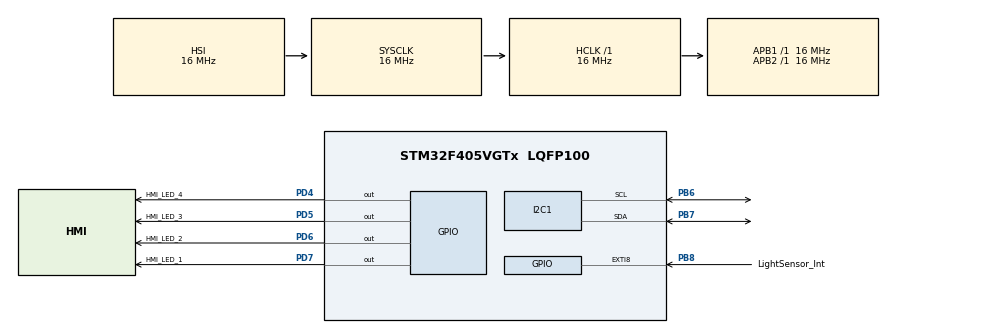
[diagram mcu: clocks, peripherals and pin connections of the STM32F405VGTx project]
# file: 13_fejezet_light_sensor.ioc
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Mcu.Family=STM32F4
PH0-OSC_IN.Signal=RCC_OSC_IN
RCC.CortexFreq_Value=16000000
PD7.Signal=GPIO_Output
PD5.Signal=GPIO_Output
PD6.GPIO_Label=HMI_LED_2
ProjectManager.StackSize=0x400
PA13.Signal=SYS_JTMS-SWDIO
PB8.GPIO_Label=LightSensor_Int
PB8.GPIO_ModeDefaultEXTI=GPIO_MODE_IT_FALLING
ProjectManager.TargetToolchain=STM32CubeIDE
PD4.Signal=GPIO_Output
PB6.Signal=I2C1_SCL
PB6.Mode=I2C
RCC.LSE_VALUE=32768
RCC.AHBFreq_Value=16000000
PH0-OSC_IN.Mode=HSE-External-Oscillator
RCC.HSE_VALUE=8000000
PB3.Mode=JTAG_4_pins
board=custom
RCC.VCOOutputFreq_Value=192000000
PA15.Mode=JTAG_4_pins
RCC.APB2Freq_Value=16000000
PD4.GPIO_Label=HMI_LED_4
PA14.Mode=JTAG_4_pins
PH1-OSC_OUT.Signal=RCC_OSC_OUT
PB7.Signal=I2C1_SDA
PA13.Mode=JTAG_4_pins
Mcu.Name=STM32F405VGTx
PD7.GPIO_Label=HMI_LED_1
PH1-OSC_OUT.Mode=HSE-External-Oscillator
PB3.Signal=SYS_JTDO-SWO
RCC.SYSCLKFreq_VALUE=16000000
Mcu.Package=LQFP100
PD5.GPIO_Label=HMI_LED_3
PB7.Mode=I2C
NVIC.EXTI9_5_IRQn=true\:0\:0\:false\:false\:true\:true\:true
PA14.Signal=SYS_JTCK-SWCLK
PA15.Signal=SYS_JTDI
ProjectManager.HeapSize=0x200
RCC.HSI_VALUE=16000000
NVIC.PriorityGroup=NVIC_PRIORITYGROUP_4
PB8.Signal=GPXTI8
PD6.Signal=GPIO_Output
RCC.APB1Freq_Value=16000000

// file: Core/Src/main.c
/* USER CODE BEGIN Header */
/**
  ******************************************************************************
  * @file           : main.c
  * @brief          : Main program body
  ******************************************************************************
  * @attention
  *
  * <h2><center>&copy; Copyright (c) 2020 STMicroelectronics.
  * All rights reserved.</center></h2>
  *
  * This software component is licensed by ST under BSD 3-Clause license,
  * the "License"; You may not use this file except in compliance with the
  * License. You may obtain a copy of the License at:
  *                        opensource.org/licenses/BSD-3-Clause
  *
  ******************************************************************************
  */
/* USER CODE END Header */
#include "main.h"
#include "i2c.h"
#include "gpio.h"

/* USER CODE BEGIN Includes */

#include "OLED.h"
#include "light_sensor.h"
#include <stdio.h>

/* USER CODE END Includes */

void SystemClock_Config(void);

/* USER CODE BEGIN 0 */
// Megszakítások számlálására létrehozott változóVariable for counting the interrupts
uint16_t interrupt_counter = 0;

// Külső interrupt lekezelő függvény
void HAL_GPIO_EXTI_Callback(uint16_t GPIO_Pin)
{
	interrupt_counter++;			// számláló növelés
	LightSensor_ClearInterrupt();	// új megszakítások törlése
}

/* USER CODE END 0 */

int main(void)
{

  /* MCU Configuration--------------------------------------------------------*/

  /* Reset of all peripherals, Initializes the Flash interface and the Systick. */
  HAL_Init();

  /* Configure the system clock */
  SystemClock_Config();

  /* Initialize all configured peripherals */
  MX_GPIO_Init();
  MX_I2C1_Init();
  /* USER CODE BEGIN 2 */

  // OLED kijelző inicializálása a hőmérséklet kijelzéshez
  OLED_Init();

  // Mért fényintenzitások eltárolására szolgáló változók
  float lightLevel;
  uint16_t channel_0;
  uint16_t channel_1;

  // Karakter tömb a mért fényintenzitás kijelzésére
  char lightLevel_char[18];
  uint16_t lightlevel_integer;
  uint16_t lightlevel_fractional;
  // Karakter tömb a megszakítás számláló kijelzésére
  char interrupt_char[18];
  char channels_char[18];
  // Változó a kommunikáció állapotónak ellenőrzésére
  HAL_StatusTypeDef sensor_i2c = HAL_OK;

  // I2C slave cím beállítás a szenzornak
  //LightSensor_SetAddress(LightSensor_ADDR_VDD);
  LightSensor_SetAddress(LightSensor_ADDR_FLOAT);
  //LightSensor_SetAddress(LightSensor_ADDR_GND);

  // Szenzor inicializálása
  sensor_i2c |= LightSensor_SetPowerState(LightSensor_POWER_ON);
  sensor_i2c |= LightSensor_SetGain(LightSensor_GAIN_16X);
  sensor_i2c |= LightSensor_SetIntegrationTime(LightSensor_INTEG_101m);

  // Megszakítások engedélyezése
  sensor_i2c |= LightSensor_SetInterruptState(LightSensor_INT_ON);
  /*
   * Megszakítás beállítása úgy, hogy akkor történjen
   * ,ha a fényintenzitás egymás után három integrálási
   * cikluson keresztül kívül esik a beállított küszöbértékeken.
   */
  sensor_i2c |= LightSensor_SetInterruptPersist(LightSensor_PERSIST_3CYCLE);
  // Küszöbértékek beállítása
  uint16_t lower_itr_level = 500;
  uint16_t upper_itr_level = 5000;
  sensor_i2c |= LightSensor_SetThreshold(lower_itr_level, upper_itr_level);

  /* USER CODE END 2 */

  /* Infinite loop */
  /* USER CODE BEGIN WHILE */
  while (1)
  {
	  {
	  			// Beolvasás
	  			LightSensor_GetLightLevel(&lightLevel);
	  			LightSensor_GetCH0Value(&channel_0);
	  			LightSensor_GetCH1Value(&channel_1);

	  			// Sztring konverzió
	  			lightlevel_integer = (uint16_t)lightLevel;
	  			lightlevel_fractional = (uint16_t)(lightLevel * 100) - 100 * (uint16_t)lightLevel;
	  			sprintf(lightLevel_char, "%d.%d lux", lightlevel_integer, lightlevel_fractional);
	  			sprintf(channels_char, "%d, %d", channel_0, channel_1);

	  			OLED_Fill(Black);

	  			OLED_SetCursor(2, 0);
	  			OLED_WriteString("Illuminance:", Font_7x10, White);
	  			OLED_SetCursor(2, 10);
	  			OLED_WriteString(lightLevel_char, Font_7x10, White);

	  		}

	// Hiba esetén az összes LED bekapcsolása
	if (sensor_i2c == HAL_ERROR)
	{
		HAL_GPIO_WritePin(HMI_LED_1_GPIO_Port, HMI_LED_1_Pin, GPIO_PIN_SET);
		HAL_GPIO_WritePin(HMI_LED_2_GPIO_Port, HMI_LED_2_Pin, GPIO_PIN_SET);
		HAL_GPIO_WritePin(HMI_LED_3_GPIO_Port, HMI_LED_3_Pin, GPIO_PIN_SET);
		HAL_GPIO_WritePin(HMI_LED_4_GPIO_Port, HMI_LED_4_Pin, GPIO_PIN_SET);
		// Állapotváltozó visszaállítása a következő ciklushoz
		sensor_i2c = HAL_OK;
		LightSensor_SetAddress(LightSensor_ADDR_GND);
		LightSensor_ClearInterrupt();
		LightSensor_SetAddress(LightSensor_ADDR_FLOAT);
	}
	else
	{
		HAL_GPIO_WritePin(HMI_LED_1_GPIO_Port, HMI_LED_1_Pin, GPIO_PIN_RESET);
		HAL_GPIO_WritePin(HMI_LED_2_GPIO_Port, HMI_LED_2_Pin, GPIO_PIN_RESET);
		HAL_GPIO_WritePin(HMI_LED_3_GPIO_Port, HMI_LED_3_Pin, GPIO_PIN_RESET);
		HAL_GPIO_WritePin(HMI_LED_4_GPIO_Port, HMI_LED_4_Pin, GPIO_PIN_RESET);
	}
	OLED_UpdateScreen();
	HAL_Delay(200);

    /* USER CODE END WHILE */

  }
}

void SystemClock_Config(void)
{
  RCC_OscInitTypeDef RCC_OscInitStruct = {0};
  RCC_ClkInitTypeDef RCC_ClkInitStruct = {0};

  /** Configure the main internal regulator output voltage
  */
  __HAL_RCC_PWR_CLK_ENABLE();
  __HAL_PWR_VOLTAGESCALING_CONFIG(PWR_REGULATOR_VOLTAGE_SCALE1);
  /** Initializes the RCC Oscillators according to the specified parameters
  * in the RCC_OscInitTypeDef structure.
  */
  RCC_OscInitStruct.OscillatorType = RCC_OSCILLATORTYPE_HSI;
  RCC_OscInitStruct.HSIState = RCC_HSI_ON;
  RCC_OscInitStruct.HSICalibrationValue = RCC_HSICALIBRATION_DEFAULT;
  RCC_OscInitStruct.PLL.PLLState = RCC_PLL_NONE;
  if (HAL_RCC_OscConfig(&RCC_OscInitStruct) != HAL_OK)
  {
    Error_Handler();
  }
  /** Initializes the CPU, AHB and APB buses clocks
  */
  RCC_ClkInitStruct.ClockType = RCC_CLOCKTYPE_HCLK|RCC_CLOCKTYPE_SYSCLK
                              |RCC_CLOCKTYPE_PCLK1|RCC_CLOCKTYPE_PCLK2;
  RCC_ClkInitStruct.SYSCLKSource = RCC_SYSCLKSOURCE_HSI;
  RCC_ClkInitStruct.AHBCLKDivider = RCC_SYSCLK_DIV1;
  RCC_ClkInitStruct.APB1CLKDivider = RCC_HCLK_DIV1;
  RCC_ClkInitStruct.APB2CLKDivider = RCC_HCLK_DIV1;

  if (HAL_RCC_ClockConfig(&RCC_ClkInitStruct, FLASH_LATENCY_0) != HAL_OK)
  {
    Error_Handler();
  }
}

void Error_Handler(void)
{
  /* USER CODE BEGIN Error_Handler_Debug */
  /* User can add his own implementation to report the HAL error return state */

	HAL_GPIO_WritePin(HMI_LED_1_GPIO_Port, HMI_LED_1_Pin, GPIO_PIN_RESET);
	HAL_GPIO_WritePin(HMI_LED_2_GPIO_Port, HMI_LED_2_Pin, GPIO_PIN_RESET);
	HAL_GPIO_WritePin(HMI_LED_3_GPIO_Port, HMI_LED_3_Pin, GPIO_PIN_RESET);
	HAL_GPIO_WritePin(HMI_LED_4_GPIO_Port, HMI_LED_4_Pin, GPIO_PIN_RESET);

	while (1)
	{
		HAL_GPIO_TogglePin(HMI_LED_1_GPIO_Port, HMI_LED_1_Pin);
		HAL_GPIO_TogglePin(HMI_LED_2_GPIO_Port, HMI_LED_2_Pin);
		HAL_GPIO_TogglePin(HMI_LED_3_GPIO_Port, HMI_LED_3_Pin);
		HAL_GPIO_TogglePin(HMI_LED_4_GPIO_Port, HMI_LED_4_Pin);

		HAL_Delay(200);
	}

  /* USER CODE END Error_Handler_Debug */
}

/************************ (C) COPYRIGHT STMicroelectronics *****END OF FILE****/
